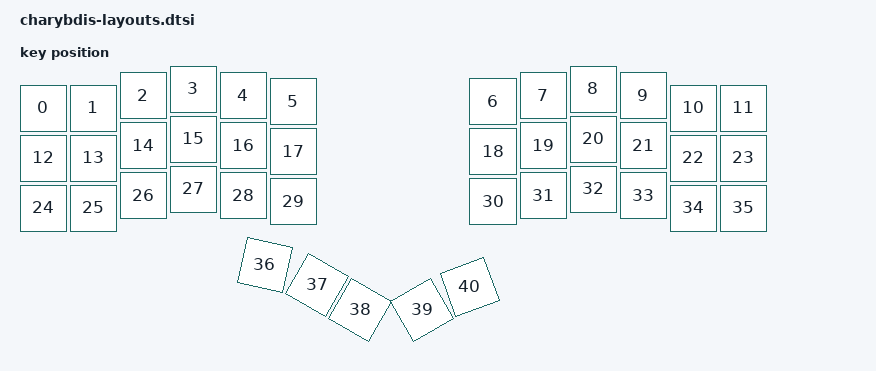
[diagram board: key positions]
#include <physical_layouts.dtsi>

/ {
    physical_layout_charybdis: physical_layout_charybdis {
        compatible = "zmk,physical-layout";
        display-name = "charybdis";
        keys  //                     w   h    x    y     rot    rx    ry
            = <&key_physical_attrs 100 100    0   38       0     0    38>
            , <&key_physical_attrs 100 100  100   38       0   100    38>
            , <&key_physical_attrs 100 100  200   13       0   200    13>
            , <&key_physical_attrs 100 100  300    0       0   300     0>
            , <&key_physical_attrs 100 100  400   13       0   400    13>
            , <&key_physical_attrs 100 100  500   25       0   500    25>
            , <&key_physical_attrs 100 100  900   25       0   900    25>
            , <&key_physical_attrs 100 100 1000   13       0  1000    13>
            , <&key_physical_attrs 100 100 1100    0       0  1100     0>
            , <&key_physical_attrs 100 100 1200   13       0  1200    13>
            , <&key_physical_attrs 100 100 1300   38       0  1300    38>
            , <&key_physical_attrs 100 100 1400   38       0  1400    38>
            , <&key_physical_attrs 100 100    0  138       0     0   138>
            , <&key_physical_attrs 100 100  100  138       0   100   138>
            , <&key_physical_attrs 100 100  200  113       0   200   113>
            , <&key_physical_attrs 100 100  300  100       0   300   100>
            , <&key_physical_attrs 100 100  400  113       0   400   113>
            , <&key_physical_attrs 100 100  500  125       0   500   125>
            , <&key_physical_attrs 100 100  900  125       0   900   125>
            , <&key_physical_attrs 100 100 1000  113       0  1000   113>
            , <&key_physical_attrs 100 100 1100  100       0  1100   100>
            , <&key_physical_attrs 100 100 1200  113       0  1200   113>
            , <&key_physical_attrs 100 100 1300  138       0  1300   138>
            , <&key_physical_attrs 100 100 1400  138       0  1400   138>
            , <&key_physical_attrs 100 100    0  238       0     0   238>
            , <&key_physical_attrs 100 100  100  238       0   100   238>
            , <&key_physical_attrs 100 100  200  213       0   200   213>
            , <&key_physical_attrs 100 100  300  200       0   300   200>
            , <&key_physical_attrs 100 100  400  213       0   400   213>
            , <&key_physical_attrs 100 100  500  225       0   500   225>
            , <&key_physical_attrs 100 100  900  225       0   900   225>
            , <&key_physical_attrs 100 100 1000  213       0  1000   213>
            , <&key_physical_attrs 100 100 1100  200       0  1100   200>
            , <&key_physical_attrs 100 100 1200  213       0  1200   213>
            , <&key_physical_attrs 100 100 1300  238       0  1300   238>
            , <&key_physical_attrs 100 100 1400  238       0  1400   238>
            , <&key_physical_attrs 100 100  455  343    1200   455   343>
            , <&key_physical_attrs 100 100  398  378    3000   498   715>
            , <&key_physical_attrs 100 100  498  378    3000   498   715>
            , <&key_physical_attrs 100 100  902  403 (-3000)   952   740>
            , <&key_physical_attrs 100 100  957  397 (-2000)   952   740>
            ;
    };
};
